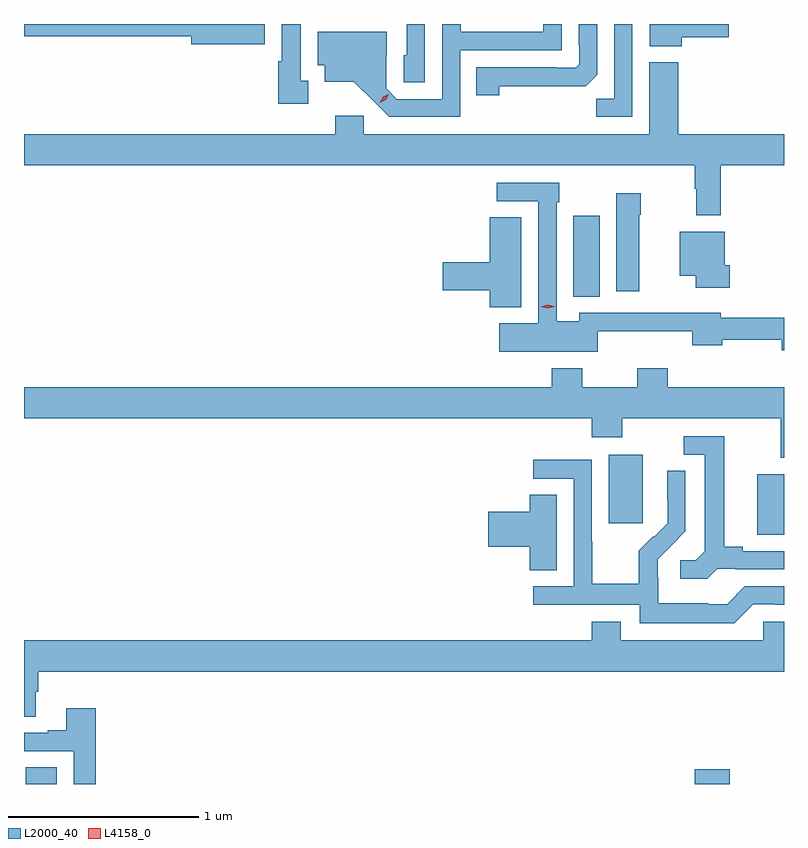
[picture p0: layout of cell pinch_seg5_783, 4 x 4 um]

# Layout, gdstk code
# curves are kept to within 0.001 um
import gdstk
lib = gdstk.Library(unit=1e-6, precision=1e-09)
def R(c, l, rs):  # rectangles x0, y0, x1, y1
    for r in rs: c.add(gdstk.rectangle(r[:2], r[2:], *l))
def P(c, l, *ps):  # polygons
    for p in ps: c.add(gdstk.Polygon(p, *l))
L2000_40 = (2000, 40)
L4158_0 = (4158, 0)

pinch_seg5_783 = lib.new_cell('pinch_seg5_783')
R(pinch_seg5_783, L2000_40, [(770.756,905.452,770.92,905.54), (774.278,905.452,774.461,905.53), (774.605,906.763,774.747,907.083), (773.825,906.825,774.004,907.186), (773.639,908.017,773.776,908.443)])
P(pinch_seg5_783, L2000_40, [(772.015,909.452),(770.747,909.452),(770.747,909.388),(771.626,909.388),(771.626,909.346),(772.015,909.346)],
  [(774.208,909.383),(774.457,909.383),(774.457,909.452),(774.041,909.452),(774.041,909.335),(774.208,909.335)],
  [(773.247,909.124),(773.704,909.125),(773.763,909.184),(773.763,909.452),(773.667,909.452),(773.667,909.34),(773.67,909.34),(773.67,909.24),(773.652,909.222),(773.552,909.222),(773.552,909.225),(773.128,909.225),(773.128,909.078),(773.247,909.078)],
  [(772.243,909.153),(772.204,909.153),(772.204,909.452),(772.103,909.452),(772.103,909.257),(772.086,909.257),(772.086,909.033),(772.243,909.033)],
  [(773.043,909.315),(773.577,909.315),(773.577,909.452),(773.481,909.452),(773.481,909.411),(773.045,909.411),(773.045,909.452),(772.947,909.452),(772.947,909.057),(772.71,909.057),(772.653,909.114),(772.653,909.288),(772.657,909.288),(772.657,909.412),(772.292,909.412),(772.292,909.236),(772.331,909.236),(772.331,909.149),(772.483,909.149),(772.67,908.964),(773.043,908.964)],
  [(773.949,909.452),(773.853,909.452),(773.853,909.059),(773.758,909.059),(773.758,908.964),(773.949,908.964)],
  [(772.857,909.452),(772.761,909.452),(772.761,909.288),(772.746,909.288),(772.746,909.145),(772.857,909.145)],
  [(774.413,908.708),(774.747,908.708),(774.747,908.872),(774.191,908.872),(774.191,909.25),(774.038,909.25),(774.038,908.872),(772.536,908.872),(772.536,908.968),(772.385,908.968),(772.385,908.872),(770.747,908.872),(770.747,908.708),(774.277,908.708),(774.277,908.585),(774.285,908.585),(774.285,908.445),(774.413,908.445)],
  [(773.766,907.835),(774.263,907.835),(774.263,907.76),(774.423,907.76),(774.423,907.789),(774.734,907.789),(774.734,907.736),(774.747,907.736),(774.747,907.907),(774.415,907.907),(774.415,907.933),(774.179,907.933),(774.179,907.932),(773.67,907.932),(773.67,907.888),(773.55,907.888),(773.55,908.513),(773.563,908.513),(773.563,908.616),(773.235,908.616),(773.235,908.52),(773.454,908.52),(773.454,907.876),(773.247,907.876),(773.247,907.727),(773.766,907.727)],
  [(773.986,908.447),(773.994,908.447),(773.994,908.56),(773.864,908.56),(773.864,908.046),(773.986,908.046)],
  [(773.365,908.435),(773.198,908.435),(773.198,908.198),(772.95,908.198),(772.95,908.051),(773.198,908.051),(773.198,907.961),(773.365,907.961)],
  [(774.461,908.181),(774.436,908.181),(774.436,908.359),(774.197,908.359),(774.197,908.126),(774.283,908.126),(774.283,908.063),(774.461,908.063)],
  [(774.747,907.54),(774.134,907.54),(774.134,907.639),(773.974,907.639),(773.974,907.54),(773.685,907.54),(773.685,907.639),(773.525,907.639),(773.525,907.54),(770.747,907.54),(770.747,907.376),(773.735,907.376),(773.735,907.277),(773.895,907.277),(773.895,907.376),(774.731,907.376),(774.731,907.168),(774.747,907.168)],
  [(774.396,906.585),(774.49,906.585),(774.49,906.582),(774.747,906.582),(774.747,906.678),(774.529,906.678),(774.529,906.701),(774.433,906.701),(774.433,907.281),(774.219,907.281),(774.219,907.185),(774.329,907.185),(774.329,906.677),(774.282,906.63),(774.201,906.63),(774.201,906.533),(774.344,906.533)],
  [(774.585,906.399),(774.701,906.399),(774.701,906.396),(774.747,906.396),(774.747,906.492),(774.54,906.492),(774.447,906.399),(774.347,906.399),(774.347,906.403),(774.084,906.403),(774.084,906.537),(774.082,906.537),(774.082,906.634),(774.228,906.782),(774.228,907.1),(774.132,907.1),(774.132,906.946),(774.134,906.946),(774.134,906.824),(774.063,906.753),(774.06,906.756),(773.983,906.679),(773.983,906.505),(773.739,906.505),(773.739,906.728),(773.736,906.728),(773.736,907.158),(773.427,907.158),(773.427,907.059),(773.64,907.059),(773.64,906.492),(773.427,906.492),(773.427,906.396),(773.988,906.396),(773.988,906.299),(774.485,906.299)],
  [(773.551,906.974),(773.408,906.974),(773.408,906.884),(773.19,906.884),(773.19,906.701),(773.408,906.701),(773.408,906.577),(773.551,906.577)],
  [(770.809,905.938),(770.822,905.938),(770.822,906.044),(774.747,906.044),(774.747,906.306),(774.639,906.306),(774.639,906.208),(773.887,906.208),(773.887,906.307),(773.735,906.307),(773.735,906.208),(770.747,906.208),(770.747,905.806),(770.809,905.806)],
  [(771.125,905.851),(770.969,905.851),(770.969,905.734),(770.873,905.734),(770.873,905.721),(770.747,905.721),(770.747,905.625),(771.009,905.625),(771.009,905.452),(771.125,905.452)])
P(pinch_seg5_783, L4158_0, [(773.503,907.955),(773.468,907.964),(773.468,907.964),(773.468,907.964),(773.502,907.975),(773.537,907.966),(773.537,907.965),(773.537,907.965)],
  [(772.619,909.038),(772.619,909.038),(772.637,909.068),(772.667,909.083),(772.668,909.083),(772.668,909.083),(772.65,909.053),(772.62,909.038)])

lib.write_gds('pinch_seg5_783.gds')
